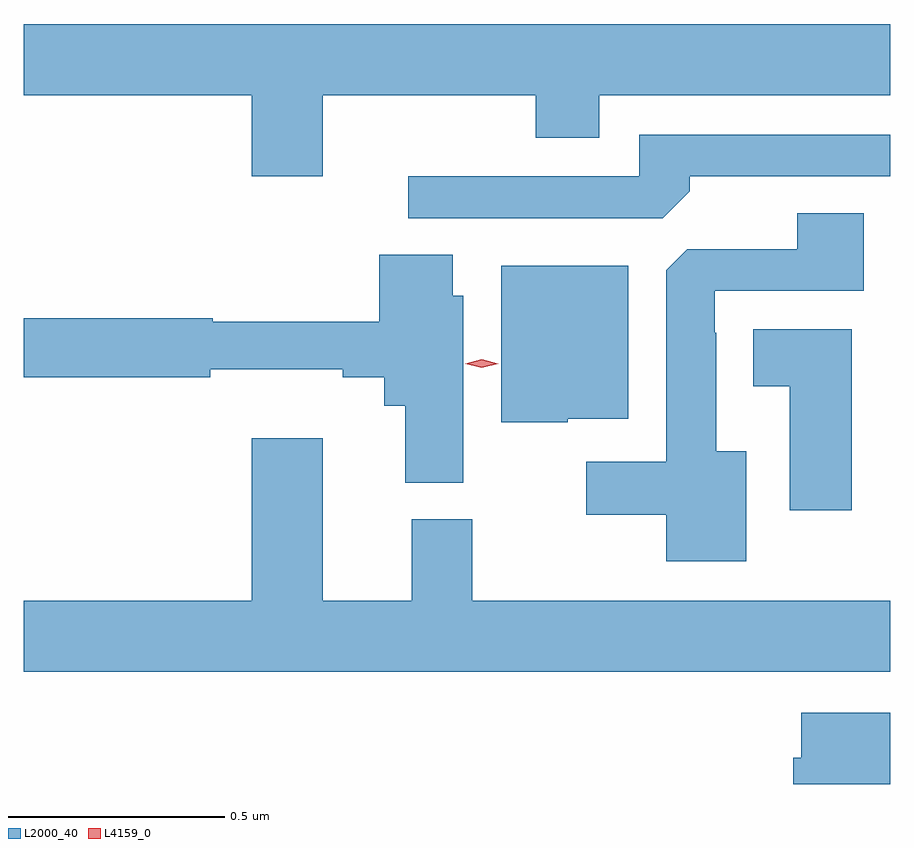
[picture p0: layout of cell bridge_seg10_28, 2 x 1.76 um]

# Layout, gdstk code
import gdstk
lib = gdstk.Library(unit=1e-6, precision=1e-09)
def P(c, l, *ps):  # polygons
    for p in ps: c.add(gdstk.Polygon(p, *l))
L2000_40 = (2000, 40)
L4159_0 = (4159, 0)

bridge_seg10_28 = lib.new_cell('bridge_seg10_28')
P(bridge_seg10_28, L2000_40, [(956.38,1261.688),(956.872,1261.688),(956.872,1261.589),(957.019,1261.589),(957.019,1261.688),(957.69,1261.688),(957.69,1261.852),(955.69,1261.852),(955.69,1261.688),(956.216,1261.688),(956.216,1261.5),(956.38,1261.5)],
  [(957.227,1261.466),(957.227,1261.5),(957.69,1261.5),(957.69,1261.596),(957.111,1261.596),(957.111,1261.5),(956.577,1261.5),(956.577,1261.404),(957.165,1261.404)],
  [(957.358,1260.865),(957.289,1260.865),(957.289,1261.139),(957.285,1261.139),(957.285,1261.236),(957.629,1261.236),(957.629,1261.415),(957.476,1261.415),(957.476,1261.332),(957.222,1261.332),(957.173,1261.283),(957.173,1260.841),(956.988,1260.841),(956.988,1260.719),(957.173,1260.719),(957.173,1260.611),(957.358,1260.611)],
  [(956.704,1261.224),(956.68,1261.224),(956.68,1261.319),(956.51,1261.319),(956.51,1261.165),(956.126,1261.165),(956.126,1261.172),(955.69,1261.172),(955.69,1261.036),(956.12,1261.036),(956.12,1261.055),(956.426,1261.055),(956.426,1261.036),(956.522,1261.036),(956.522,1260.971),(956.57,1260.971),(956.57,1260.793),(956.704,1260.793)],
  [(956.946,1260.941),(957.085,1260.941),(957.085,1261.294),(956.792,1261.294),(956.792,1260.932),(956.946,1260.932)],
  [(957.601,1261.147),(957.374,1261.147),(957.374,1261.016),(957.458,1261.016),(957.458,1260.729),(957.601,1260.729)],
  [(957.69,1260.52),(956.725,1260.52),(956.725,1260.708),(956.585,1260.708),(956.585,1260.52),(956.38,1260.52),(956.38,1260.895),(956.216,1260.895),(956.216,1260.52),(955.69,1260.52),(955.69,1260.356),(957.69,1260.356)],
  [(957.69,1260.262),(957.485,1260.262),(957.485,1260.158),(957.466,1260.158),(957.466,1260.097),(957.69,1260.097)])
P(bridge_seg10_28, L4159_0, [(956.747,1261.058),(956.709,1261.067),(956.709,1261.067),(956.709,1261.068),(956.747,1261.078),(956.785,1261.068),(956.785,1261.068),(956.785,1261.068)])

lib.write_gds('bridge_seg10_28.gds')
